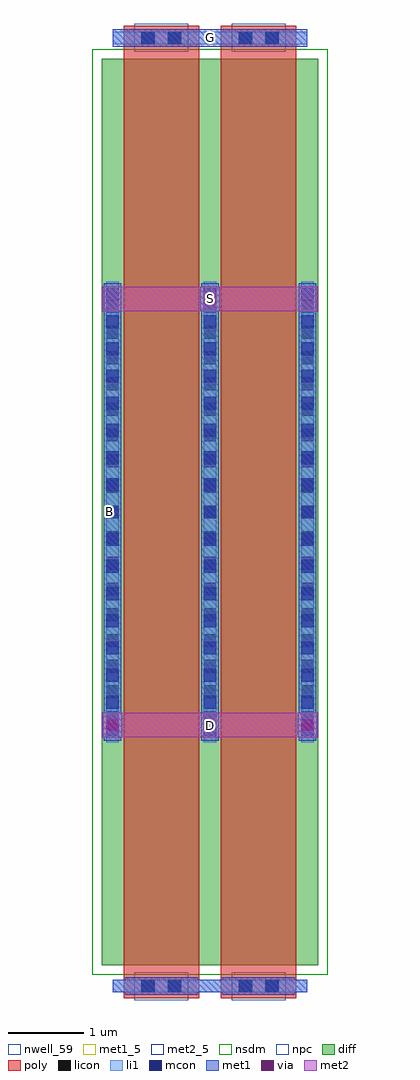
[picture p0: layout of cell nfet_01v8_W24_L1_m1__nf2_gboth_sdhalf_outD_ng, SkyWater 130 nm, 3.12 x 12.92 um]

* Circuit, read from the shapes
.subckt nfet_01v8_W24_L1_m1__nf2_gboth_sdhalf_outD_ng B D G S
XM1 S G D B sky130_fd_pr__nfet_01v8 w=12 l=1 m=2
.ends

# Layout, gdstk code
import gdstk
lib = gdstk.Library(unit=1e-6, precision=1e-09)
def R(c, l, rs):  # rectangles x0, y0, x1, y1
    for r in rs: c.add(gdstk.rectangle(r[:2], r[2:], *l))
def A(c, l, x, y, w, h, nx, ny, dx, dy):  # array of equal rectangles
    R(c, l, [(x+i*dx, y+j*dy, x+i*dx+w, y+j*dy+h) for i in range(nx) for j in range(ny)])
nwell_59 = (64, 59)
diff = (65, 20)
poly = (66, 20)
licon = (66, 44)
li1 = (67, 20)
mcon = (67, 44)
met1_5 = (68, 5)
met1 = (68, 20)
via = (68, 44)
met2_5 = (69, 5)
met2 = (69, 20)
nsdm = (93, 44)
npc = (95, 20)

sky130_fd_pr__nfet_01v8_ = lib.new_cell('sky130_fd_pr__nfet_01v8_WSSQT3')
R(sky130_fd_pr__nfet_01v8_, diff, [(-1.435,-6,1.435,6)])
R(sky130_fd_pr__nfet_01v8_, poly, [(-1.145,-6.44,-0.145,6.44), (0.145,-6.44,1.145,6.44)])
A(sky130_fd_pr__nfet_01v8_, licon, -1.375, -2.805, 0.17, 0.17, 3, 17, 1.29, 0.34)
R(sky130_fd_pr__nfet_01v8_, licon, [(-0.9,-6.36,-0.73,-6.19), (-0.56,-6.36,-0.39,-6.19), (0.39,-6.36,0.56,-6.19), (0.73,-6.36,0.9,-6.19), (-0.9,6.19,-0.73,6.36), (-0.56,6.19,-0.39,6.36), (0.39,6.19,0.56,6.36), (0.73,6.19,0.9,6.36)])
A(sky130_fd_pr__nfet_01v8_, li1, -1.375, -3.05, 0.17, 6.1, 3, 1, 1.29, 0)
R(sky130_fd_pr__nfet_01v8_, li1, [(-1.29,-6.36,1.29,-6.19), (-1.29,6.19,1.29,6.36)])
A(sky130_fd_pr__nfet_01v8_, mcon, -1.375, -2.965, 0.17, 0.17, 3, 17, 1.29, 0.36)
R(sky130_fd_pr__nfet_01v8_, mcon, [(-0.91,-6.36,-0.74,-6.19), (-0.55,-6.36,-0.38,-6.19), (0.38,-6.36,0.55,-6.19), (0.74,-6.36,0.91,-6.19), (-0.91,6.19,-0.74,6.36), (-0.55,6.19,-0.38,6.36), (0.38,6.19,0.55,6.36), (0.74,6.19,0.91,6.36)])
A(sky130_fd_pr__nfet_01v8_, met1, -1.405, -3.03, 0.23, 6.06, 3, 1, 1.29, 0)
R(sky130_fd_pr__nfet_01v8_, met1, [(-1.125,-6.39,-0.165,-6.36), (0.165,-6.39,1.125,-6.36), (-1.29,-6.36,1.29,-6.19), (-1.125,-6.19,-0.165,-6.16), (0.165,-6.19,1.125,-6.16), (-1.125,6.16,-0.165,6.19), (0.165,6.16,1.125,6.19), (-1.29,6.19,1.29,6.36), (-1.125,6.36,-0.165,6.39), (0.165,6.36,1.125,6.39)])
R(sky130_fd_pr__nfet_01v8_, nsdm, [(-1.56,-6.125,1.56,6.125)])
R(sky130_fd_pr__nfet_01v8_, npc, [(-1,-6.46,-0.29,-6.09), (0.29,-6.46,1,-6.09), (-1,6.09,-0.29,6.46), (0.29,6.09,1,6.46)])
sky130_fd_pr__nfet_01v8_.add(gdstk.Label('D0', (-1.29,0), layer=67, texttype=5))
sky130_fd_pr__nfet_01v8_.add(gdstk.Label('G', (0.645,6.275), layer=67, texttype=5))
sky130_fd_pr__nfet_01v8_.add(gdstk.Label('G', (-0.645,6.275), layer=67, texttype=5))
sky130_fd_pr__nfet_01v8_.add(gdstk.Label('S1', (0,0), layer=67, texttype=5))

nfet_01v8_w24_l1_m1__nf2 = lib.new_cell('nfet_01v8_W24_L1_m1__nf2_gboth_sdhalf_outD_ng')
R(nfet_01v8_w24_l1_m1__nf2, nwell_59, [(0.05,6.39,0.15,6.49)])
R(nfet_01v8_w24_l1_m1__nf2, met1_5, [(0.145,12.6,2.725,12.83)])
R(nfet_01v8_w24_l1_m1__nf2, met1, [(0.015,3.46,0.275,3.78), (2.595,3.46,2.855,3.78), (1.305,9.1,1.565,9.42), (0.145,12.6,2.725,12.83)])
R(nfet_01v8_w24_l1_m1__nf2, via, [(0.07,3.545,0.22,3.695), (2.65,3.545,2.8,3.695), (1.36,9.185,1.51,9.335)])
R(nfet_01v8_w24_l1_m1__nf2, met2_5, [(0.01,3.46,2.86,3.78), (0.01,9.1,2.86,9.42)])
R(nfet_01v8_w24_l1_m1__nf2, met2, [(0.01,3.46,2.86,3.78), (0.01,9.1,2.86,9.42)])
nfet_01v8_w24_l1_m1__nf2.add(gdstk.Reference(sky130_fd_pr__nfet_01v8_, (1.435,6.44)))
nfet_01v8_w24_l1_m1__nf2.add(gdstk.Label('S', (1.435,9.26), layer=69, texttype=5))
nfet_01v8_w24_l1_m1__nf2.add(gdstk.Label('D', (1.435,3.62), layer=69, texttype=5))
nfet_01v8_w24_l1_m1__nf2.add(gdstk.Label('G', (1.435,12.715), layer=68, texttype=5))
nfet_01v8_w24_l1_m1__nf2.add(gdstk.Label('B', (0.1,6.44), layer=64, texttype=59))

lib.write_gds('nfet_01v8_W24_L1_m1__nf2_gboth_sdhalf_outD_ng.gds')
